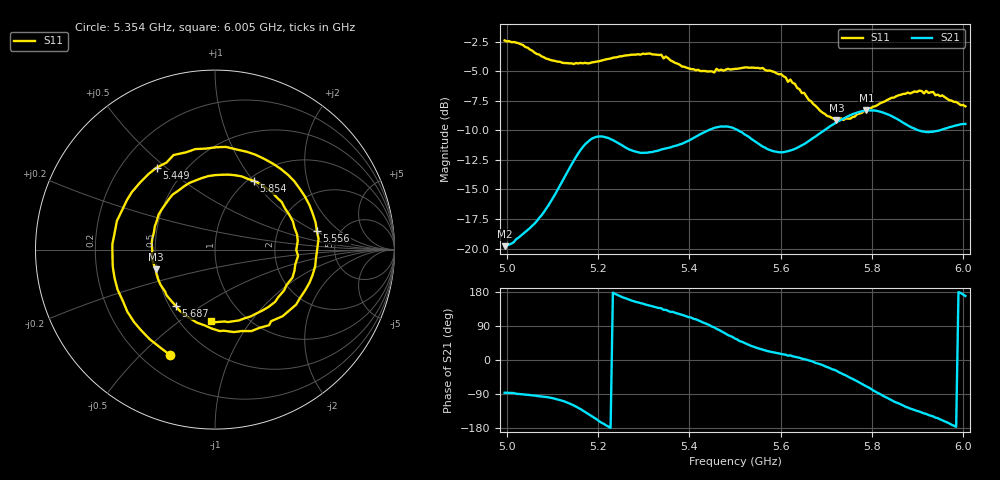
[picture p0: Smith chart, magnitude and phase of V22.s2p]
!File created by NanoVNA
# Hz S RI R 50
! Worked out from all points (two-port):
!   201 points, 4.995 GHz to 6.005 GHz, reference 50 ohm
!   highest |S21| = -8.30 dB at 5.788 GHz (marker M1); lowest = -19.8 dB at 4.995 GHz (marker M2)
!   |S21| within 3 dB of the highest: 5.371 GHz to 5.558 GHz (187.1 MHz wide, 3.42 % of centre); 5.645 GHz to end of sweep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
!   lowest |S11| = -9.2 dB at 5.722 GHz (marker M3), VSWR 2.07, Z = 24.6 - j6.1 ohm
!   |S11| at or under -10 dB: nowhere
!   S12 and S22 are empty: the file has one direction only
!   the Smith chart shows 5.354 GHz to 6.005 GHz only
!   S11 on the Smith chart (normalised r, x): 5.354 GHz: 0.31, -0.61; 5.449 GHz: 0.35, +0.46; 5.556 GHz: 3.37, +1.05; 5.687 GHz: 0.54, -0.40; 5.854 GHz: 1.07, +1.01; 6.005 GHz: 0.70, -0.67
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4.995e9  0.2183 -0.7259  0.00658 -0.1021  0 0  0 0
5.03035e9  -0.3137 -0.6606  -0.000425 -0.1132  0 0  0 0
5.0758e9  -0.6439 -0.0842  -0.0142 -0.1374  0 0  0 0
5.1263e9  -0.348 0.4989  -0.0665 -0.1889  0 0  0 0
5.1667e9  0.1206 0.5945  -0.1853 -0.1951  0 0  0 0
5.25255e9  0.6465 -0.0692  -0.2649 0.0664  0 0  0 0
5.2879e9  0.5106 -0.4229  -0.225 0.1198  0 0  0 0
5.33335e9  0.0146 -0.6577  -0.1905 0.1768  0 0  0 0
5.35355e9  -0.253 -0.5853  -0.1694 0.2059  0 0  0 0
5.399e9  -0.5695 -0.0962  -0.1107 0.2638  0 0  0 0
5.4495e9  -0.3257 0.4566  0.0117 0.3204  0 0  0 0
5.5e9  0.2256 0.5286  0.1774 0.2669  0 0  0 0
5.55555e9  0.5676 0.1039  0.2395 0.1333  0 0  0 0
5.6212e9  0.3017 -0.4212  0.2539 0.0548  0 0  0 0
5.6717e9  -0.1363 -0.3845  0.2927 -0.0247  0 0  0 0
5.68685e9  -0.2178 -0.3138  0.3015 -0.0608  0 0  0 0
5.7222e9  -0.3311 -0.1087  0.302 -0.1618  0 0  0 0
5.78785e9  -0.2368 0.3061  0.1336 -0.3605  0 0  0 0
5.83835e9  0.1101 0.4145  -0.083 -0.3575  0 0  0 0
5.8535e9  0.2187 0.3823  -0.1339 -0.328  0 0  0 0
5.91915e9  0.4628 -0.0352  -0.2455 -0.1907  0 0  0 0
6.005e9  -0.0196 -0.3987  -0.3299 0.0648  0 0  0 0
